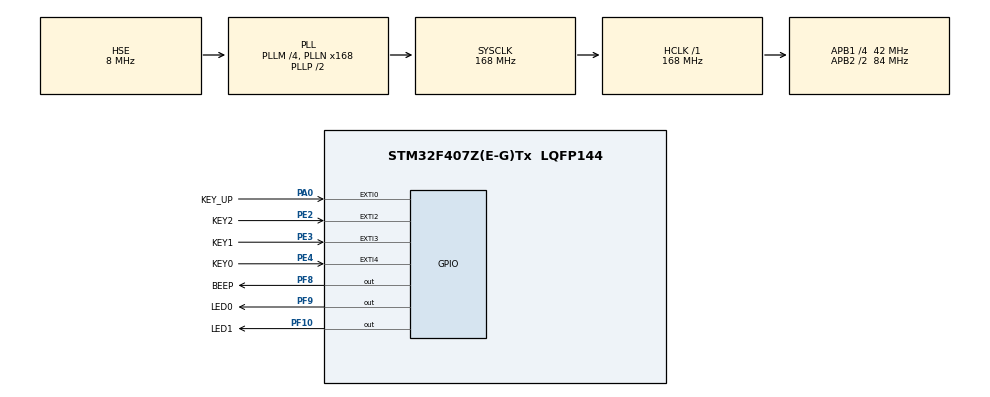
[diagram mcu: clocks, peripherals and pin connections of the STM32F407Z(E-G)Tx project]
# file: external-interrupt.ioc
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Mcu.Family=STM32F4
Mcu.Name=STM32F407Z(E-G)Tx
Mcu.Package=LQFP144
NVIC.EXTI0_IRQn=true\:3\:2\:true\:false\:true\:true\:true\:true
NVIC.EXTI2_IRQn=true\:2\:2\:true\:false\:true\:true\:true\:true
NVIC.EXTI3_IRQn=true\:1\:2\:true\:false\:true\:true\:true\:true
NVIC.EXTI4_IRQn=true\:0\:2\:true\:false\:true\:true\:true\:true
NVIC.PriorityGroup=NVIC_PRIORITYGROUP_2
PA0-WKUP.GPIO_Label=KEY_UP
PA0-WKUP.GPIO_ModeDefaultEXTI=GPIO_MODE_IT_RISING
PA0-WKUP.GPIO_PuPd=GPIO_PULLDOWN
PA0-WKUP.Signal=GPXTI0
PC14-OSC32_IN.Mode=LSE-External-Oscillator
PC14-OSC32_IN.Signal=RCC_OSC32_IN
PC15-OSC32_OUT.Mode=LSE-External-Oscillator
PC15-OSC32_OUT.Signal=RCC_OSC32_OUT
PE2.GPIO_Label=KEY2
PE2.GPIO_ModeDefaultEXTI=GPIO_MODE_IT_FALLING
PE2.GPIO_PuPd=GPIO_PULLUP
PE2.Signal=GPXTI2
PE3.GPIO_Label=KEY1
PE3.GPIO_ModeDefaultEXTI=GPIO_MODE_IT_FALLING
PE3.GPIO_PuPd=GPIO_PULLUP
PE3.Signal=GPXTI3
PE4.GPIO_Label=KEY0
PE4.GPIO_ModeDefaultEXTI=GPIO_MODE_IT_FALLING
PE4.GPIO_PuPd=GPIO_PULLUP
PE4.Signal=GPXTI4
PF10.GPIO_Label=LED1
PF10.GPIO_PuPd=GPIO_PULLUP
PF10.GPIO_Speed=GPIO_SPEED_FREQ_HIGH
PF10.PinState=GPIO_PIN_SET
PF10.Signal=GPIO_Output
PF8.GPIO_Label=BEEP
PF8.GPIO_PuPd=GPIO_PULLUP
PF8.GPIO_Speed=GPIO_SPEED_FREQ_HIGH
PF8.PinState=GPIO_PIN_SET
PF8.Signal=GPIO_Output
PF9.GPIO_Label=LED0
PF9.GPIO_ModeDefaultOutputPP=GPIO_MODE_OUTPUT_PP
PF9.GPIO_PuPd=GPIO_PULLUP
PF9.GPIO_Speed=GPIO_SPEED_FREQ_HIGH
PF9.PinState=GPIO_PIN_SET
PF9.Signal=GPIO_Output
PH0-OSC_IN.Mode=HSE-External-Oscillator
PH0-OSC_IN.Signal=RCC_OSC_IN
PH1-OSC_OUT.Mode=HSE-External-Oscillator
PH1-OSC_OUT.Signal=RCC_OSC_OUT
ProjectManager.HeapSize=0x200
ProjectManager.StackSize=0x400
ProjectManager.TargetToolchain=Makefile
RCC.48MHZClocksFreq_Value=84000000
RCC.AHBFreq_Value=168000000
RCC.APB1CLKDivider=RCC_HCLK_DIV4
RCC.APB1Freq_Value=42000000
RCC.APB1TimFreq_Value=84000000
RCC.APB2CLKDivider=RCC_HCLK_DIV2
RCC.APB2Freq_Value=84000000
RCC.APB2TimFreq_Value=168000000
RCC.CortexFreq_Value=168000000
RCC.HCLKFreq_Value=168000000
RCC.HSE_VALUE=8000000
RCC.HSI_VALUE=16000000
RCC.PLLM=4
RCC.PLLN=168
RCC.PLLSourceVirtual=RCC_PLLSOURCE_HSE
RCC.SYSCLKFreq_VALUE=168000000
RCC.SYSCLKSource=RCC_SYSCLKSOURCE_PLLCLK
RCC.VCOOutputFreq_Value=336000000
board=custom

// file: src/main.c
/* USER CODE BEGIN Header */
/**
 ******************************************************************************
 * @file           : main.c
 * @brief          : Main program body
 ******************************************************************************
 * @attention
 *
 * Copyright (c) 2023 STMicroelectronics.
 * All rights reserved.
 *
 * This software is licensed under terms that can be found in the LICENSE file
 * in the root directory of this software component.
 * If no LICENSE file comes with this software, it is provided AS-IS.
 *
 ******************************************************************************
 */
/* USER CODE END Header */
#include "main.h"

#include "gpio.h"

/* USER CODE BEGIN PD */
#define TurnOnLED(x) \
  HAL_GPIO_WritePin(LED##x##_GPIO_Port, LED##x##_Pin, GPIO_PIN_SET)
#define TurnOffLED(x) \
  HAL_GPIO_WritePin(LED##x##_GPIO_Port, LED##x##_Pin, GPIO_PIN_RESET)
#define ToggleLED(x) HAL_GPIO_TogglePin(LED##x##_GPIO_Port, LED##x##_Pin)

#define TurnOnBeep() HAL_GPIO_WritePin(BEEP_GPIO_Port, BEEP_Pin, GPIO_PIN_SET)
#define TurnOffBeep() \
  HAL_GPIO_WritePin(BEEP_GPIO_Port, BEEP_Pin, GPIO_PIN_RESET)
#define ToggleBeep() HAL_GPIO_TogglePin(BEEP_GPIO_Port, BEEP_Pin)

#define KEY0 HAL_GPIO_ReadPin(KEY0_GPIO_Port, KEY0_Pin)
#define KEY1 HAL_GPIO_ReadPin(KEY1_GPIO_Port, KEY1_Pin)
#define KEY2 HAL_GPIO_ReadPin(KEY2_GPIO_Port, KEY2_Pin)
#define KEY_UP HAL_GPIO_ReadPin(KEY_UP_GPIO_Port, KEY_UP_Pin)

#define IsDownKey0() (KEY0 == GPIO_PIN_RESET)
#define IsDownKey1() (KEY1 == GPIO_PIN_RESET)
#define IsDownKey2() (KEY2 == GPIO_PIN_RESET)
#define IsDownKeyUP() (KEY_UP == GPIO_PIN_SET)
/* USER CODE END PD */

void SystemClock_Config(void);

int main(void) {

  /* MCU Configuration--------------------------------------------------------*/

  /* Reset of all peripherals, Initializes the Flash interface and the Systick.
   */
  HAL_Init();

  /* Configure the system clock */
  SystemClock_Config();

  /* Initialize all configured peripherals */
  MX_GPIO_Init();

  /* Infinite loop */
  while (1) {

  }
}

void SystemClock_Config(void) {
  RCC_OscInitTypeDef RCC_OscInitStruct = {0};
  RCC_ClkInitTypeDef RCC_ClkInitStruct = {0};

  /** Configure the main internal regulator output voltage
   */
  __HAL_RCC_PWR_CLK_ENABLE();
  __HAL_PWR_VOLTAGESCALING_CONFIG(PWR_REGULATOR_VOLTAGE_SCALE1);

  /** Initializes the RCC Oscillators according to the specified parameters
   * in the RCC_OscInitTypeDef structure.
   */
  RCC_OscInitStruct.OscillatorType = RCC_OSCILLATORTYPE_HSE;
  RCC_OscInitStruct.HSEState = RCC_HSE_ON;
  RCC_OscInitStruct.PLL.PLLState = RCC_PLL_ON;
  RCC_OscInitStruct.PLL.PLLSource = RCC_PLLSOURCE_HSE;
  RCC_OscInitStruct.PLL.PLLM = 4;
  RCC_OscInitStruct.PLL.PLLN = 168;
  RCC_OscInitStruct.PLL.PLLP = RCC_PLLP_DIV2;
  RCC_OscInitStruct.PLL.PLLQ = 4;
  if (HAL_RCC_OscConfig(&RCC_OscInitStruct) != HAL_OK) {
    Error_Handler();
  }

  /** Initializes the CPU, AHB and APB buses clocks
   */
  RCC_ClkInitStruct.ClockType = RCC_CLOCKTYPE_HCLK | RCC_CLOCKTYPE_SYSCLK |
                                RCC_CLOCKTYPE_PCLK1 | RCC_CLOCKTYPE_PCLK2;
  RCC_ClkInitStruct.SYSCLKSource = RCC_SYSCLKSOURCE_PLLCLK;
  RCC_ClkInitStruct.AHBCLKDivider = RCC_SYSCLK_DIV1;
  RCC_ClkInitStruct.APB1CLKDivider = RCC_HCLK_DIV4;
  RCC_ClkInitStruct.APB2CLKDivider = RCC_HCLK_DIV2;

  if (HAL_RCC_ClockConfig(&RCC_ClkInitStruct, FLASH_LATENCY_5) != HAL_OK) {
    Error_Handler();
  }
}

/* USER CODE BEGIN 4 */
void HAL_GPIO_EXTI_Callback(uint16_t GPIO_Pin) {
  // ! can't use HAL_Delay here for debounce
  // HAL_Delay(20);
  switch (GPIO_Pin) {
    case KEY_UP_Pin:
      if (IsDownKeyUP()) {
        ToggleBeep();
      }
      break;
    case KEY0_Pin:
      if (IsDownKey0()) {
        ToggleLED(0);
      }
      break;
    case KEY1_Pin:
      if (IsDownKey1()) {
        ToggleLED(1);
      }
      break;
    case KEY2_Pin:
      if (IsDownKey2()) {
        ToggleLED(0);
        ToggleLED(1);
      }
      break;
    default:
      break;
  }
  __HAL_GPIO_EXTI_CLEAR_IT(GPIO_Pin);  // clear interrupt flag in case of bounce
}
/* USER CODE END 4 */

void Error_Handler(void) {
  __disable_irq();
  while (1) {
  }
}

#ifdef USE_FULL_ASSERT
/**
 * @brief  Reports the name of the source file and the source line number
 *         where the assert_param error has occurred.
 * @param  file: pointer to the source file name
 * @param  line: assert_param error line source number
 * @retval None
 */
void assert_failed(uint8_t *file, uint32_t line) {
  /* USER CODE BEGIN 6 */
  /* User can add his own implementation to report the file name and line
     number, ex: printf("Wrong parameters value: file %s on line %d\r\n", file,
     line) */
  /* USER CODE END 6 */
}
#endif /* USE_FULL_ASSERT */
